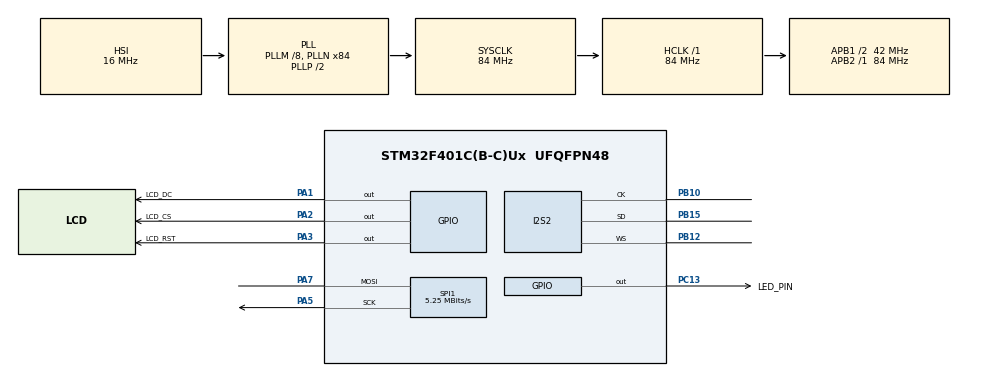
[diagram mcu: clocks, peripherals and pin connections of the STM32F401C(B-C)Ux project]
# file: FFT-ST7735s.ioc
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Dma.Request0=SPI2_RX
Dma.SPI2_RX.0.Direction=DMA_PERIPH_TO_MEMORY
Dma.SPI2_RX.0.FIFOMode=DMA_FIFOMODE_DISABLE
Dma.SPI2_RX.0.Instance=DMA1_Stream3
Dma.SPI2_RX.0.MemDataAlignment=DMA_MDATAALIGN_HALFWORD
Dma.SPI2_RX.0.MemInc=DMA_MINC_ENABLE
Dma.SPI2_RX.0.Mode=DMA_CIRCULAR
Dma.SPI2_RX.0.PeriphDataAlignment=DMA_PDATAALIGN_HALFWORD
Dma.SPI2_RX.0.PeriphInc=DMA_PINC_DISABLE
Dma.SPI2_RX.0.Priority=DMA_PRIORITY_HIGH
FREERTOS.BinarySemaphores01=DataReadySem,Dynamic,NULL,Available
FREERTOS.Queues01=FFTQueue,4,256,1,Dynamic,NULL,NULL
FREERTOS.Tasks01=Display_Task,8,256,StartDisplay_Task,Default,NULL,Dynamic,NULL,NULL;Audio_Task,40,256,StartAudio_Task,Default,NULL,Dynamic,NULL,NULL;FFT_Task,32,512,StartFFT_Task,Default,NULL,Dynamic,NULL,NULL
FREERTOS.configTOTAL_HEAP_SIZE=15360
I2S2.AudioFreq=I2S_AUDIOFREQ_16K
I2S2.DataFormat=I2S_DATAFORMAT_24B
I2S2.ErrorAudioFreq=-0.35 %
I2S2.FullDuplexMode=I2S_FULLDUPLEXMODE_DISABLE
I2S2.Instance=SPI$Index
I2S2.Mode=I2S_MODE_MASTER_RX
I2S2.RealAudioFreq=15.943 KHz
I2S2.VirtualMode=I2S_MODE_MASTER
Mcu.Family=STM32F4
Mcu.Name=STM32F401C(B-C)Ux
Mcu.Package=UFQFPN48
NVIC.DMA1_Stream3_IRQn=true\:5\:0\:false\:false\:true\:true\:false\:true\:true
NVIC.PriorityGroup=NVIC_PRIORITYGROUP_4
PA1.GPIO_Label=LCD_DC
PA1.GPIO_Speed=GPIO_SPEED_FREQ_HIGH
PA1.PinState=GPIO_PIN_RESET
PA1.Signal=GPIO_Output
PA13.Mode=Serial_Wire
PA13.Signal=SYS_JTMS-SWDIO
PA14.Mode=Serial_Wire
PA14.Signal=SYS_JTCK-SWCLK
PA2.GPIO_Label=LCD_CS
PA2.GPIO_Speed=GPIO_SPEED_FREQ_HIGH
PA2.Signal=GPIO_Output
PA3.GPIO_Label=LCD_RST
PA3.GPIO_Speed=GPIO_SPEED_FREQ_HIGH
PA3.Signal=GPIO_Output
PA5.Mode=Simplex_Bidirectional_Master
PA5.Signal=SPI1_SCK
PA7.Mode=Simplex_Bidirectional_Master
PA7.Signal=SPI1_MOSI
PB10.Mode=Half_Duplex_Master
PB10.Signal=I2S2_CK
PB12.Mode=Half_Duplex_Master
PB12.Signal=I2S2_WS
PB15.Mode=Half_Duplex_Master
PB15.Signal=I2S2_SD
PC13-ANTI_TAMP.GPIO_Label=LED_PIN
PC13-ANTI_TAMP.PinState=GPIO_PIN_SET
PC13-ANTI_TAMP.Signal=GPIO_Output
PH0\ -\ OSC_IN.Mode=HSE-External-Oscillator
PH0\ -\ OSC_IN.Signal=RCC_OSC_IN
PH1\ -\ OSC_OUT.Mode=HSE-External-Oscillator
PH1\ -\ OSC_OUT.Signal=RCC_OSC_OUT
ProjectManager.HeapSize=0x200
ProjectManager.StackSize=0x400
ProjectManager.TargetToolchain=STM32CubeIDE
RCC.48MHZClocksFreq_Value=42000000
RCC.AHBFreq_Value=84000000
RCC.APB1CLKDivider=RCC_HCLK_DIV2
RCC.APB1Freq_Value=42000000
RCC.APB1TimFreq_Value=84000000
RCC.APB2Freq_Value=84000000
RCC.APB2TimFreq_Value=84000000
RCC.CortexFreq_Value=84000000
RCC.HCLKFreq_Value=84000000
RCC.HSE_VALUE=25000000
RCC.HSI_VALUE=16000000
RCC.LSE_VALUE=32768
RCC.PLLI2SN=50
RCC.PLLM=8
RCC.PLLN=84
RCC.SYSCLKFreq_VALUE=84000000
RCC.SYSCLKSource=RCC_SYSCLKSOURCE_PLLCLK
RCC.VCOOutputFreq_Value=168000000
SPI1.BaudRatePrescaler=SPI_BAUDRATEPRESCALER_16
SPI1.CalculateBaudRate=5.25 MBits/s
SPI1.Direction=SPI_DIRECTION_1LINE
SPI1.Mode=SPI_MODE_MASTER
SPI1.VirtualType=VM_MASTER
VP_FREERTOS_VS_CMSIS_V2.Mode=CMSIS_V2
board=custom

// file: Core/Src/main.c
/* USER CODE BEGIN Header */
/**
  ******************************************************************************
  * @file           : main.c
  * @brief          : Main program body
  ******************************************************************************
  * @attention
  *
  * Copyright (c) 2026 STMicroelectronics.
  * All rights reserved.
  *
  * This software is licensed under terms that can be found in the LICENSE file
  * in the root directory of this software component.
  * If no LICENSE file comes with this software, it is provided AS-IS.
  *
  ******************************************************************************
  */
/* USER CODE END Header */
#include "main.h"
#include "cmsis_os.h"
#include "dma.h"
#include "i2s.h"
#include "spi.h"
#include "gpio.h"

/* USER CODE BEGIN Includes */
#include "ST7735.h"

#include "arm_math.h"
/* USER CODE END Includes */

void SystemClock_Config(void);
void MX_FREERTOS_Init(void);

int main(void)
{

  /* MCU Configuration--------------------------------------------------------*/

  /* Reset of all peripherals, Initializes the Flash interface and the Systick. */
  HAL_Init();

  /* Configure the system clock */
  SystemClock_Config();

  /* Initialize all configured peripherals */
  MX_GPIO_Init();
  MX_DMA_Init();
  MX_SPI1_Init();
  MX_I2S2_Init();

  /* Init scheduler */
  osKernelInitialize();  /* Call init function for freertos objects (in cmsis_os2.c) */
  MX_FREERTOS_Init();

  /* Start scheduler */
  osKernelStart();

  /* We should never get here as control is now taken by the scheduler */

  /* Infinite loop */
  while (1)
  {

  }
}

void SystemClock_Config(void)
{
  RCC_OscInitTypeDef RCC_OscInitStruct = {0};
  RCC_ClkInitTypeDef RCC_ClkInitStruct = {0};

  /** Configure the main internal regulator output voltage
  */
  __HAL_RCC_PWR_CLK_ENABLE();
  __HAL_PWR_VOLTAGESCALING_CONFIG(PWR_REGULATOR_VOLTAGE_SCALE2);

  /** Initializes the RCC Oscillators according to the specified parameters
  * in the RCC_OscInitTypeDef structure.
  */
  RCC_OscInitStruct.OscillatorType = RCC_OSCILLATORTYPE_HSI;
  RCC_OscInitStruct.HSIState = RCC_HSI_ON;
  RCC_OscInitStruct.HSICalibrationValue = RCC_HSICALIBRATION_DEFAULT;
  RCC_OscInitStruct.PLL.PLLState = RCC_PLL_ON;
  RCC_OscInitStruct.PLL.PLLSource = RCC_PLLSOURCE_HSI;
  RCC_OscInitStruct.PLL.PLLM = 8;
  RCC_OscInitStruct.PLL.PLLN = 84;
  RCC_OscInitStruct.PLL.PLLP = RCC_PLLP_DIV2;
  RCC_OscInitStruct.PLL.PLLQ = 4;
  if (HAL_RCC_OscConfig(&RCC_OscInitStruct) != HAL_OK)
  {
    Error_Handler();
  }

  /** Initializes the CPU, AHB and APB buses clocks
  */
  RCC_ClkInitStruct.ClockType = RCC_CLOCKTYPE_HCLK|RCC_CLOCKTYPE_SYSCLK
                              |RCC_CLOCKTYPE_PCLK1|RCC_CLOCKTYPE_PCLK2;
  RCC_ClkInitStruct.SYSCLKSource = RCC_SYSCLKSOURCE_PLLCLK;
  RCC_ClkInitStruct.AHBCLKDivider = RCC_SYSCLK_DIV1;
  RCC_ClkInitStruct.APB1CLKDivider = RCC_HCLK_DIV2;
  RCC_ClkInitStruct.APB2CLKDivider = RCC_HCLK_DIV1;

  if (HAL_RCC_ClockConfig(&RCC_ClkInitStruct, FLASH_LATENCY_2) != HAL_OK)
  {
    Error_Handler();
  }
}

void Error_Handler(void)
{
  __disable_irq();
  while (1)
  {
  }
}

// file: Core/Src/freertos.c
/* USER CODE BEGIN Header */
/**
  ******************************************************************************
  * File Name          : freertos.c
  * Description        : Code for freertos applications
  ******************************************************************************
  * @attention
  *
  * Copyright (c) 2026 STMicroelectronics.
  * All rights reserved.
  *
  * This software is licensed under terms that can be found in the LICENSE file
  * in the root directory of this software component.
  * If no LICENSE file comes with this software, it is provided AS-IS.
  *
  ******************************************************************************
  */
/* USER CODE END Header */

#include "FreeRTOS.h"
#include "task.h"
#include "main.h"
#include "cmsis_os.h"

/* USER CODE BEGIN Includes */
#include "ST7735.h"

/* USER CODE END Includes */

/* Definitions for Display_Task */
osThreadId_t Display_TaskHandle;
const osThreadAttr_t Display_Task_attributes = {
  .name = "Display_Task",
  .stack_size = 256 * 4,
  .priority = (osPriority_t) osPriorityLow,
};
/* Definitions for Audio_Task */
osThreadId_t Audio_TaskHandle;
const osThreadAttr_t Audio_Task_attributes = {
  .name = "Audio_Task",
  .stack_size = 256 * 4,
  .priority = (osPriority_t) osPriorityHigh,
};
/* Definitions for FFT_Task */
osThreadId_t FFT_TaskHandle;
const osThreadAttr_t FFT_Task_attributes = {
  .name = "FFT_Task",
  .stack_size = 512 * 4,
  .priority = (osPriority_t) osPriorityAboveNormal,
};
/* Definitions for FFTQueue */
osMessageQueueId_t FFTQueueHandle;
const osMessageQueueAttr_t FFTQueue_attributes = {
  .name = "FFTQueue"
};
/* Definitions for DataReadySem */
osSemaphoreId_t DataReadySemHandle;
const osSemaphoreAttr_t DataReadySem_attributes = {
  .name = "DataReadySem"
};

void StartDisplay_Task(void *argument);
void StartAudio_Task(void *argument);
void StartFFT_Task(void *argument);

void MX_FREERTOS_Init(void); /* (MISRA C 2004 rule 8.1) */

void MX_FREERTOS_Init(void) {

  /* Create the semaphores(s) */
  /* creation of DataReadySem */
  DataReadySemHandle = osSemaphoreNew(1, 1, &DataReadySem_attributes);

  /* Create the queue(s) */
  /* creation of FFTQueue */
  FFTQueueHandle = osMessageQueueNew (4, 256, &FFTQueue_attributes);

  /* Create the thread(s) */
  /* creation of Display_Task */
  Display_TaskHandle = osThreadNew(StartDisplay_Task, NULL, &Display_Task_attributes);

  /* creation of Audio_Task */
  Audio_TaskHandle = osThreadNew(StartAudio_Task, NULL, &Audio_Task_attributes);

  /* creation of FFT_Task */
  FFT_TaskHandle = osThreadNew(StartFFT_Task, NULL, &FFT_Task_attributes);

}

void StartDisplay_Task(void *argument)
{
  /* USER CODE BEGIN StartDisplay_Task */
	ST7735_Init();
		ST7735_FillScreen(ST7735_BLACK);

	  /* Infinite loop */
	  for(;;)
	  {
		  // Тест 1: Текст с разными поворотами
		  ST7735_FillScreen(ST7735_BLACK);
		      ST7735_WriteString(0, 0, "BLACK", Font_11x18, ST7735_WHITE, ST7735_BLACK);
		      osDelay(1000); // 200 мс

		      ST7735_FillScreen(ST7735_BLUE);
		      ST7735_WriteString(0, 0, "BLUE", Font_11x18, ST7735_BLACK, ST7735_BLUE);
		      osDelay(1000); // 200 мс

		      ST7735_FillScreen(ST7735_RED);
		      ST7735_WriteString(0, 0, "RED", Font_11x18, ST7735_BLACK, ST7735_RED);
		      osDelay(1000); // 200 мс

		      ST7735_FillScreen(ST7735_GREEN);
		      ST7735_WriteString(0, 0, "GREEN", Font_11x18, ST7735_BLACK, ST7735_GREEN);
		      osDelay(1000); // 200 мс

		      ST7735_FillScreen(ST7735_CYAN);
		      ST7735_WriteString(0, 0, "CYAN", Font_11x18, ST7735_BLACK, ST7735_CYAN);
		      osDelay(1000); // 200 мс

		      ST7735_FillScreen(ST7735_MAGENTA);
		      ST7735_WriteString(0, 0, "MAGENTA", Font_11x18, ST7735_BLACK, ST7735_MAGENTA);
		      osDelay(1000); // 200 мс

		      ST7735_FillScreen(ST7735_YELLOW);
		      ST7735_WriteString(0, 0, "YELLOW", Font_11x18, ST7735_BLACK, ST7735_YELLOW);
		      osDelay(1000); // 200 мс

		      ST7735_FillScreen(ST7735_WHITE);
		      ST7735_WriteString(0, 0, "WHITE", Font_11x18, ST7735_BLACK, ST7735_WHITE);
		      osDelay(1000); // 200 мс

  }
  /* USER CODE END StartDisplay_Task */
}

void StartAudio_Task(void *argument)
{
  for(;;)
  {
    osDelay(1);
  }
}

void StartFFT_Task(void *argument)
{
  for(;;)
  {
    osDelay(1);
  }
}
